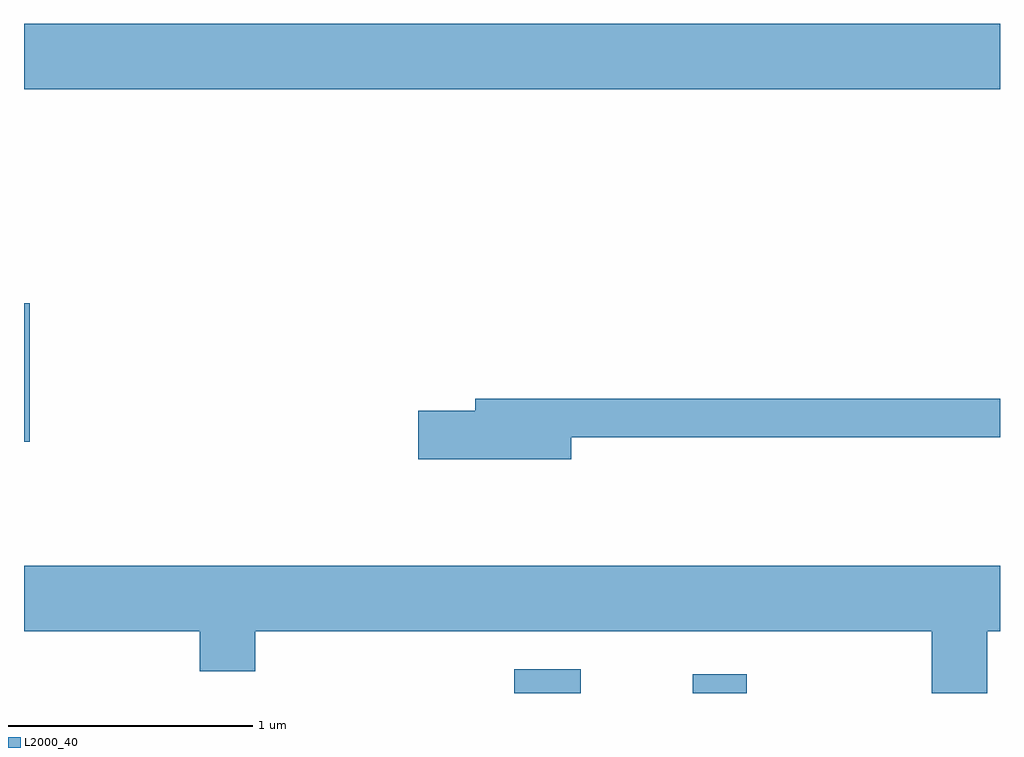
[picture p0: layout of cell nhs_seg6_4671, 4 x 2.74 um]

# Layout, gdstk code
import gdstk
lib = gdstk.Library(unit=1e-6, precision=1e-09)
def R(c, l, rs):  # rectangles x0, y0, x1, y1
    for r in rs: c.add(gdstk.rectangle(r[:2], r[2:], *l))
def P(c, l, *ps):  # polygons
    for p in ps: c.add(gdstk.Polygon(p, *l))
L2000_40 = (2000, 40)

nhs_seg6_4671 = lib.new_cell('nhs_seg6_4671')
R(nhs_seg6_4671, L2000_40, [(329.621,1614.162,329.893,1614.259), (330.351,1614.162,330.574,1614.239), (327.611,1615.191,327.634,1615.759), (327.611,1616.636,331.611,1616.904)])
P(nhs_seg6_4671, L2000_40, [(329.854,1615.211),(331.611,1615.211),(331.611,1615.369),(329.461,1615.369),(329.461,1615.319),(329.226,1615.319),(329.226,1615.121),(329.854,1615.121)],
  [(331.559,1614.416),(331.611,1614.416),(331.611,1614.684),(327.611,1614.684),(327.611,1614.416),(328.331,1614.416),(328.331,1614.251),(328.559,1614.251),(328.559,1614.416),(331.331,1614.416),(331.331,1614.162),(331.559,1614.162)])

lib.write_gds('nhs_seg6_4671.gds')
